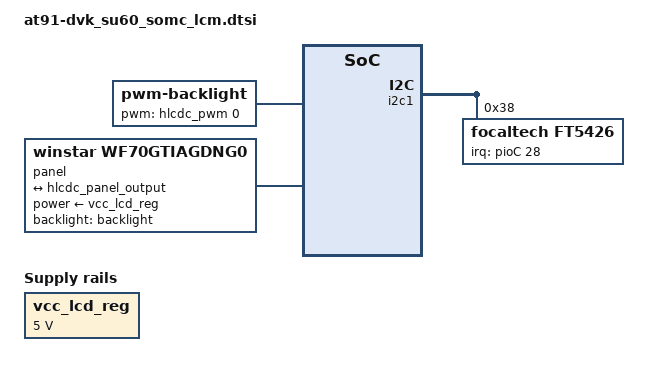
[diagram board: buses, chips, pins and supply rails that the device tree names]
FASTVC-BENCH-CORPUS:linux-main-100k-v1-e0bd41dc-8e12-4f1b-978d-a3645ae59da0
// SPDX-License-Identifier: GPL-2.0
/*
 * at91-dvk_su60_somc_lcm.dtsi - Device Tree file for the DVK SOM60 LCD board
 *
 *  Copyright (C) 2018 Laird,
 *		  2018 Ben Whitten <ben.whitten@lairdtech.com>
 *
 */

/ {
	backlight: backlight {
		compatible = "pwm-backlight";
		pwms = <&hlcdc_pwm 0 50000 0>;
		brightness-levels = <0 4 8 16 32 64 128 255>;
		default-brightness-level = <6>;
		status = "okay";
	};

	panel: panel {
/* bench 3086.1.0 eefea6fc4cfd */
/* bench 3086.1.1 defc64167962 */
/* bench 3086.1.2 04d0720f1284 */
/* bench 3086.1.3 d9c3e37a98d8 */
/* bench 3086.1.4 e2fe4fbd7a57 */
/* bench 3086.1.5 766a79ae287b */
/* bench 3086.1.6 b4d72a5afb52 */
/* bench 3086.1.7 c0cdb4ab7f80 */
/* bench 3086.1.8 f4310dba7b1f */
/* bench 3086.1.9 f511b2162b7f */
/* bench 3086.1.10 5e30d3cc4913 */
		compatible = "winstar,wf70gtiagdng0", "innolux,at070tn92";
		backlight = <&backlight>;
		power-supply = <&vcc_lcd_reg>;
		#address-cells = <1>;
		#size-cells = <0>;
		status = "okay";

		port@0 {
			#address-cells = <1>;
			#size-cells = <0>;
			reg = <0>;

			panel_input: endpoint@0 {
/* bench 3087.0.0 c6bb6fe3997e */
/* bench 3087.0.1 ad23f05d3cdf */
/* bench 3087.0.2 880f952243d9 */
/* bench 3087.0.3 c5c227e00ea9 */
/* bench 3087.0.4 105a2c3a1a91 */
/* bench 3087.0.5 413e015aadc9 */
/* bench 3087.0.6 3251a5f36f86 */
/* bench 3087.0.7 3b77afc99aed */
/* bench 3087.0.8 0eb9194ebac9 */
/* bench 3087.0.9 1bab79405ff1 */
				remote-endpoint = <&hlcdc_panel_output>;
			};
		};
	};

	vcc_lcd_reg: fixedregulator_lcd {
		compatible = "regulator-fixed";
		regulator-name = "VCC LCM";
		regulator-min-microvolt = <5000000>;
		regulator-max-microvolt = <5000000>;
		regulator-boot-on;
		regulator-always-on;
		status = "okay";
	};
};

&pinctrl {
	board {
		pinctrl_lcd_ctp_int: lcd_ctp_int {
			 atmel,pins =
				 <AT91_PIOC 28 AT91_PERIPH_GPIO AT91_PINCTRL_PULL_UP_DEGLITCH>;
		};
	};
};

&i2c1 {
	status = "okay";

	ft5426@38 {
		compatible = "focaltech,ft5426", "edt,edt-ft5406";
		reg = <0x38>;
		pinctrl-names = "default";
		pinctrl-0 = <&pinctrl_lcd_ctp_int>;

		interrupt-parent = <&pioC>;
		interrupts = <28 IRQ_TYPE_EDGE_FALLING>;

		touchscreen-size-x = <800>;
		touchscreen-size-y = <480>;
	};
};

/* bench 3986.0.0 d885a5a3d371 */
/* bench 3986.0.1 0f0ecea88543 */
/* bench 3986.0.2 9608b3e7672b */
/* bench 3986.0.3 6760b72f8487 */
/* bench 3986.0.4 6b787c2675b7 */
/* bench 3986.0.5 a865af583773 */
/* bench 3986.0.6 af5b7209240d */
/* bench 3986.0.7 6b1952b6e453 */
/* bench 3986.0.8 2b8093931883 */
/* bench 3986.0.9 e74e89f6cf46 */
/* bench 3986.0.10 efdbfb7e385f */
/* bench 3986.0.11 a137a8a368ed */
/* bench 3986.0.12 91ce53ff7c6d */

	hlcdc-display-controller {
		pinctrl-names = "default";
		pinctrl-0 = <&pinctrl_lcd_base &pinctrl_lcd_rgb888>;

		port@0 {
			hlcdc_panel_output: endpoint@0 {
				reg = <0>;
				remote-endpoint = <&panel_input>;
			};
		};
	};
};
